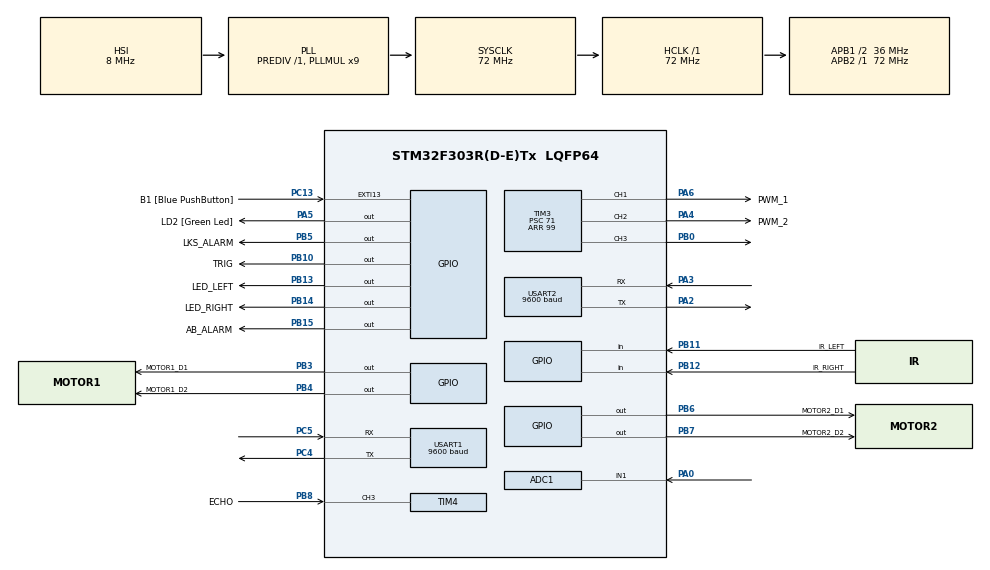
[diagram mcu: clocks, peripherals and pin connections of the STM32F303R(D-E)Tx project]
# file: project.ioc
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ADC1.Channel-0\#ChannelRegularConversion=ADC_CHANNEL_1
ADC1.NbrOfConversionFlag=1
ADC1.Offset-0\#ChannelRegularConversion=0
ADC1.OffsetNumber-0\#ChannelRegularConversion=ADC_OFFSET_NONE
ADC1.Rank-0\#ChannelRegularConversion=1
ADC1.SamplingTime-0\#ChannelRegularConversion=ADC_SAMPLETIME_1CYCLE_5
ADC1.SamplingTimeOPAMP-0\#ChannelRegularConversion=ADC_SAMPLETIME_61CYCLES_5
ADC1.master=1
FREERTOS.BinarySemaphores01=LKS_semaphore,Dynamic,NULL
FREERTOS.Tasks01=LKS_,32,128,LKS_TASK,Default,NULL,Dynamic,NULL,NULL;ACC_,24,128,ACC_TASK,Default,NULL,Dynamic,NULL,NULL;AB_,40,128,AB_TASK,Default,NULL,Dynamic,NULL,NULL;BLUETOOTH_,8,128,BLUETOOTH_TASK,Default,NULL,Dynamic,NULL,NULL;ALC_,9,128,ALC_TASK,Default,NULL,Dynamic,NULL,NULL
FREERTOS.configTOTAL_HEAP_SIZE=3500
Mcu.Family=STM32F3
Mcu.Name=STM32F303R(D-E)Tx
Mcu.Package=LQFP64
NVIC.PriorityGroup=NVIC_PRIORITYGROUP_4
NVIC.TIM1_UP_TIM16_IRQn=true\:15\:0\:false\:false\:true\:false\:false\:true\:true
NVIC.TIM4_IRQn=true\:5\:0\:false\:false\:true\:true\:true\:true\:true
NVIC.TimeBase=TIM1_UP_TIM16_IRQn
NVIC.TimeBaseIP=TIM1
PA0.Mode=IN1-Single-Ended
PA0.Signal=ADC1_IN1
PA13.GPIO_Label=TMS
PA13.Mode=Serial_Wire
PA13.Signal=SYS_JTMS-SWDIO
PA14.GPIO_Label=TCK
PA14.Mode=Serial_Wire
PA14.Signal=SYS_JTCK-SWCLK
PA2.Mode=Asynchronous
PA2.Signal=USART2_TX
PA3.Mode=Asynchronous
PA3.Signal=USART2_RX
PA4.GPIO_Label=PWM_2
PA4.Signal=S_TIM3_CH2
PA5.GPIO_Label=LD2 [Green Led]
PA5.GPIO_Mode=GPIO_MODE_OUTPUT_PP
PA5.GPIO_PuPd=GPIO_NOPULL
PA5.GPIO_Speed=GPIO_SPEED_FREQ_LOW
PA5.Signal=GPIO_Output
PA6.GPIO_Label=PWM_1
PA6.Signal=S_TIM3_CH1
PB0.Signal=S_TIM3_CH3
PB10.GPIO_Label=TRIG
PB10.Signal=GPIO_Output
PB11.GPIO_Label=IR_LEFT
PB11.GPIO_PuPd=GPIO_PULLDOWN
PB11.Signal=GPIO_Input
PB12.GPIO_Label=IR_RIGHT
PB12.GPIO_PuPd=GPIO_PULLDOWN
PB12.Signal=GPIO_Input
PB13.GPIO_Label=LED_LEFT
PB13.Signal=GPIO_Output
PB14.GPIO_Label=LED_RIGHT
PB14.Signal=GPIO_Output
PB15.GPIO_Label=AB_ALARM
PB15.Signal=GPIO_Output
PB3.GPIO_Label=MOTOR1_D1
PB3.Signal=GPIO_Output
PB4.GPIO_Label=MOTOR1_D2
PB4.Signal=GPIO_Output
PB5.GPIO_Label=LKS_ALARM
PB5.Signal=GPIO_Output
PB6.GPIO_Label=MOTOR2_D1
PB6.Signal=GPIO_Output
PB7.GPIO_Label=MOTOR2_D2
PB7.Signal=GPIO_Output
PB8.GPIO_Label=ECHO
PB8.Signal=S_TIM4_CH3
PC13.GPIO_Label=B1 [Blue PushButton]
PC13.GPIO_ModeDefaultEXTI=GPIO_MODE_IT_FALLING
PC13.Signal=GPXTI13
PC14-OSC32_IN.Signal=RCC_OSC32_IN
PC15-OSC32_OUT.Signal=RCC_OSC32_OUT
PC4.Mode=Asynchronous
PC4.Signal=USART1_TX
PC5.Mode=Asynchronous
PC5.Signal=USART1_RX
PF0-OSC_IN.Mode=HSE-External-Oscillator
PF0-OSC_IN.Signal=RCC_OSC_IN
PF1-OSC_OUT.Mode=HSE-External-Oscillator
PF1-OSC_OUT.Signal=RCC_OSC_OUT
ProjectManager.HeapSize=0x200
ProjectManager.StackSize=0x400
ProjectManager.TargetToolchain=STM32CubeIDE
RCC.AHBFreq_Value=72000000
RCC.APB1CLKDivider=RCC_HCLK_DIV2
RCC.APB1Freq_Value=36000000
RCC.APB1TimFreq_Value=72000000
RCC.APB2Freq_Value=72000000
RCC.APB2TimFreq_Value=72000000
RCC.CortexFreq_Value=72000000
RCC.HCLKFreq_Value=72000000
RCC.HSE_VALUE=8000000
RCC.HSI_VALUE=8000000
RCC.LSE_VALUE=32768
RCC.PLLM=8
RCC.PLLMUL=RCC_PLL_MUL9
RCC.PLLN=336
RCC.PLLP=RCC_PLLP_DIV4
RCC.PLLQ=7
RCC.RCC_PLLsource_Clock_Source_FROM_HSE=RCC_HSE_PREDIV_DIV2
RCC.SYSCLKFreq_VALUE=72000000
RCC.SYSCLKSourceVirtual=RCC_SYSCLKSOURCE_PLLCLK
RCC.USBFreq_Value=72000000
SH.S_TIM3_CH1.0=TIM3_CH1,PWM Generation1 CH1
SH.S_TIM3_CH2.0=TIM3_CH2,PWM Generation2 CH2
SH.S_TIM3_CH3.0=TIM3_CH3,PWM Generation3 CH3
SH.S_TIM4_CH3.0=TIM4_CH3,Input_Capture3_from_TI3
TIM3.Channel-PWM\ Generation1\ CH1=TIM_CHANNEL_1
TIM3.Channel-PWM\ Generation2\ CH2=TIM_CHANNEL_2
TIM3.Channel-PWM\ Generation3\ CH3=TIM_CHANNEL_3
TIM3.Period=99
TIM3.Prescaler=71
TIM4.Channel-Input_Capture3_from_TI3=TIM_CHANNEL_3
TIM4.Prescaler=71
USART1.BaudRate=9600
USART1.VirtualMode-Asynchronous=VM_ASYNC
USART2.BaudRate=9600
USART2.VirtualMode-Asynchronous=VM_ASYNC
VP_FREERTOS_VS_CMSIS_V2.Mode=CMSIS_V2
VP_SYS_VS_tim1.Mode=TIM1
VP_TIM3_VS_ClockSourceINT.Mode=Internal
VP_TIM4_VS_ClockSourceINT.Mode=Internal
board=NUCLEO-F303RE

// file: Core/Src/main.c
/* USER CODE BEGIN Header */
/**
 ******************************************************************************
 * @file           : main.c
 * @brief          : Main program body
 ******************************************************************************
 * @attention
 *
 * Copyright (c) 2024 STMicroelectronics.
 * All rights reserved.
 *
 * This software is licensed under terms that can be found in the LICENSE file
 * in the root directory of this software component.
 * If no LICENSE file comes with this software, it is provided AS-IS.
 *
 ******************************************************************************
 */
/* USER CODE END Header */
#include "main.h"
#include "cmsis_os.h"
#include "adc.h"
#include "tim.h"
#include "usart.h"
#include "gpio.h"

/* USER CODE BEGIN Includes */
#include "motor.h"
#include "Ultrasonic.h"
#include "LDR.h"
/* USER CODE END Includes */

void SystemClock_Config(void);
void MX_FREERTOS_Init(void);

int main(void)
{

  /* MCU Configuration--------------------------------------------------------*/

  /* Reset of all peripherals, Initializes the Flash interface and the Systick. */
  HAL_Init();

  /* Configure the system clock */
  SystemClock_Config();

  /* Initialize all configured peripherals */
  MX_GPIO_Init();
  MX_TIM3_Init();
  MX_TIM4_Init();
  MX_ADC1_Init();
  MX_USART1_UART_Init();
  MX_USART2_UART_Init();
  /* USER CODE BEGIN 2 */
	Motor_voidInit();
	HCSR04_Init();
	HAL_TIM_PWM_Start(&htim3,TIM_CHANNEL_3);
	  HAL_ADC_MspInit(&hadc1);
  /* USER CODE END 2 */

  /* Init scheduler */
  osKernelInitialize();

  /* Call init function for freertos objects (in freertos.c) */
  MX_FREERTOS_Init();

  /* Start scheduler */
  osKernelStart();

  /* We should never get here as control is now taken by the scheduler */
  /* Infinite loop */
  /* USER CODE BEGIN WHILE */
	while (1)
	{
//		HAL_GPIO_TogglePin(LD2_GPIO_Port, LD2_Pin);
//		HAL_GPIO_TogglePin(AB_ALARM_GPIO_Port, AB_ALARM_Pin);
//		HAL_GPIO_TogglePin(LD2_GPIO_Port, LD2_Pin);
//		HAL_GPIO_TogglePin(LED_RIGHT_GPIO_Port, LED_RIGHT_Pin);
//
//		HAL_Delay(1000);
    /* USER CODE END WHILE */

	}
}

void SystemClock_Config(void)
{
  RCC_OscInitTypeDef RCC_OscInitStruct = {0};
  RCC_ClkInitTypeDef RCC_ClkInitStruct = {0};
  RCC_PeriphCLKInitTypeDef PeriphClkInit = {0};

  /** Initializes the RCC Oscillators according to the specified parameters
  * in the RCC_OscInitTypeDef structure.
  */
  RCC_OscInitStruct.OscillatorType = RCC_OSCILLATORTYPE_HSI;
  RCC_OscInitStruct.HSIState = RCC_HSI_ON;
  RCC_OscInitStruct.HSICalibrationValue = RCC_HSICALIBRATION_DEFAULT;
  RCC_OscInitStruct.PLL.PLLState = RCC_PLL_ON;
  RCC_OscInitStruct.PLL.PLLSource = RCC_PLLSOURCE_HSI;
  RCC_OscInitStruct.PLL.PLLMUL = RCC_PLL_MUL9;
  RCC_OscInitStruct.PLL.PREDIV = RCC_PREDIV_DIV1;
  if (HAL_RCC_OscConfig(&RCC_OscInitStruct) != HAL_OK)
  {
    Error_Handler();
  }

  /** Initializes the CPU, AHB and APB buses clocks
  */
  RCC_ClkInitStruct.ClockType = RCC_CLOCKTYPE_HCLK|RCC_CLOCKTYPE_SYSCLK
                              |RCC_CLOCKTYPE_PCLK1|RCC_CLOCKTYPE_PCLK2;
  RCC_ClkInitStruct.SYSCLKSource = RCC_SYSCLKSOURCE_PLLCLK;
  RCC_ClkInitStruct.AHBCLKDivider = RCC_SYSCLK_DIV1;
  RCC_ClkInitStruct.APB1CLKDivider = RCC_HCLK_DIV2;
  RCC_ClkInitStruct.APB2CLKDivider = RCC_HCLK_DIV1;

  if (HAL_RCC_ClockConfig(&RCC_ClkInitStruct, FLASH_LATENCY_2) != HAL_OK)
  {
    Error_Handler();
  }
  PeriphClkInit.PeriphClockSelection = RCC_PERIPHCLK_USART1|RCC_PERIPHCLK_USART2
                              |RCC_PERIPHCLK_ADC12|RCC_PERIPHCLK_TIM34;
  PeriphClkInit.Usart1ClockSelection = RCC_USART1CLKSOURCE_PCLK2;
  PeriphClkInit.Usart2ClockSelection = RCC_USART2CLKSOURCE_PCLK1;
  PeriphClkInit.Adc12ClockSelection = RCC_ADC12PLLCLK_DIV1;
  PeriphClkInit.Tim34ClockSelection = RCC_TIM34CLK_HCLK;
  if (HAL_RCCEx_PeriphCLKConfig(&PeriphClkInit) != HAL_OK)
  {
    Error_Handler();
  }
}

void HAL_TIM_PeriodElapsedCallback(TIM_HandleTypeDef *htim)
{
  if (htim->Instance == TIM1) {
    HAL_IncTick();
  }
}

void Error_Handler(void)
{
	__disable_irq();
	while (1)
	{
	}
}

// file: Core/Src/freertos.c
/* USER CODE BEGIN Header */
/**
 ******************************************************************************
 * File Name          : freertos.c
 * Description        : Code for freertos applications
 ******************************************************************************
 * @attention
 *
 * Copyright (c) 2024 STMicroelectronics.
 * All rights reserved.
 *
 * This software is licensed under terms that can be found in the LICENSE file
 * in the root directory of this software component.
 * If no LICENSE file comes with this software, it is provided AS-IS.
 *
 ******************************************************************************
 */
/* USER CODE END Header */

#include "FreeRTOS.h"
#include "task.h"
#include "main.h"
#include "cmsis_os.h"

/* USER CODE BEGIN Includes */
#include "motor.h"
#include "IRSensor.h"
#include "bluetooth.h"
#include "LDR.h"
#include "usart.h"
#include "Ultrasonic.h"
/* USER CODE END Includes */

/* USER CODE BEGIN PTD */
typedef enum{
	T_OFF,
	T_ON
}TURN_SIGNAL_MODES;
typedef enum{

	LKS_OFF,
	LKS_ON,
	LKS_STANDARD,
	LKS_ADAPTIVE
}LKS_MODES;
/* USER CODE END PTD */

/* USER CODE BEGIN PD */
#define WHITE   1
#define BLACK   0
#define MIN_DISTANCE		5
#define DEFAULT_DISTANCE    20
#define MAX_SPEED  			80
/* USER CODE END PD */

/* USER CODE BEGIN Variables */
uint8_t  ACC_Flag 		  = 0;
uint8_t  LKS_Flag 		  = 0;
uint8_t  Left_IR 		  = 0;
uint8_t  Right_IR 		  = 0;
TURN_SIGNAL_MODES	 Turn_Flag		  = T_OFF;
LKS_MODES  LKS_mode  = LKS_STANDARD;
uint8_t	 speed 			  = 0;
uint8_t rxData			  = 0;
uint16_t Current_Distance = 0;
uint8_t AB_Flag	=0;
uint8_t Return_flag =0;
uint8_t debug			=0;
uint8_t tx_buffer[20] = "Welcome to USB";

uint8_t pData =0;
extern Ultrasonic_t HCSR04_sensor[1];
/* USER CODE END Variables */
/* Definitions for LKS_ */
osThreadId_t LKS_Handle;
const osThreadAttr_t LKS__attributes = {
		.name = "LKS_",
		.stack_size = 128 * 4,
		.priority = (osPriority_t) osPriorityAboveNormal,
};
/* Definitions for ACC_ */
osThreadId_t ACC_Handle;
const osThreadAttr_t ACC__attributes = {
		.name = "ACC_",
		.stack_size = 128 * 4,
		.priority = (osPriority_t) osPriorityNormal,
};
/* Definitions for AB_ */
osThreadId_t AB_Handle;
const osThreadAttr_t AB__attributes = {
		.name = "AB_",
		.stack_size = 128 * 4,
		.priority = (osPriority_t) osPriorityHigh,
};
/* Definitions for BLUETOOTH_ */
osThreadId_t BLUETOOTH_Handle;
const osThreadAttr_t BLUETOOTH__attributes = {
		.name = "BLUETOOTH_",
		.stack_size = 128 * 4,
		.priority = (osPriority_t) osPriorityLow,
};
/* Definitions for ALC_ */
osThreadId_t ALC_Handle;
const osThreadAttr_t ALC__attributes = {
		.name = "ALC_",
		.stack_size = 128 * 4,
		.priority = (osPriority_t) osPriorityLow1,
};
/* Definitions for LKS_semaphore */
osSemaphoreId_t LKS_semaphoreHandle;
const osSemaphoreAttr_t LKS_semaphore_attributes = {
		.name = "LKS_semaphore"
};

void LKS_TASK(void *argument);
void ACC_TASK(void *argument);
void AB_TASK(void *argument);
void BLUETOOTH_TASK(void *argument);
void ALC_TASK(void *argument);

void MX_FREERTOS_Init(void); /* (MISRA C 2004 rule 8.1) */

void MX_FREERTOS_Init(void) {

	/* Create the semaphores(s) */
	/* creation of LKS_semaphore */
	LKS_semaphoreHandle = osSemaphoreNew(1, 0, &LKS_semaphore_attributes);

	/* Create the thread(s) */
	/* creation of LKS_ */
	LKS_Handle = osThreadNew(LKS_TASK, NULL, &LKS__attributes);

	/* creation of ACC_ */
	ACC_Handle = osThreadNew(ACC_TASK, NULL, &ACC__attributes);

	/* creation of AB_ */
	AB_Handle = osThreadNew(AB_TASK, NULL, &AB__attributes);

	/* creation of BLUETOOTH_ */
	BLUETOOTH_Handle = osThreadNew(BLUETOOTH_TASK, NULL, &BLUETOOTH__attributes);

	/* creation of ALC_ */
	ALC_Handle = osThreadNew(ALC_TASK, NULL, &ALC__attributes);

}

void LKS_TASK(void *argument)
{
	/* USER CODE BEGIN LKS_TASK */
	/* Infinite loop */
	for(;;)

	{

		HAL_GPIO_TogglePin(LED_LEFT_GPIO_Port, LED_LEFT_Pin);
		/* if the driver do not turn on the turn signsl */
		if(Turn_Flag == T_OFF && speed > 20 &&  LKS_mode ==  LKS_ADAPTIVE  && (!AB_Flag))
		{
			HAL_GPIO_WritePin(LKS_ALARM_GPIO_Port, LKS_ALARM_Pin, GPIO_PIN_RESET);
			Left_IR = IRSensor_Read(LEFT_IR);
			Right_IR = IRSensor_Read(RIGHT_IR);
			/* If the car is inside the lane / No lane markings are detected on both sides */
			if ((Left_IR == BLACK) && (Right_IR == BLACK) )
			{

				if(Return_flag==1)
				{
					Motor_voidMoveForward(speed);
				}else
				{
					Motor_voidMoveBackward(speed);
				}
				/* Reset (Lane Keeping Status) Flag */
				LKS_Flag = 0;

			}
			/* If the car drifts to the right / Lane markings are detected on the right side */
			else if (Left_IR == BLACK && Right_IR == WHITE)
			{
				/* Set (Lane Keeping Status) Flag */
				LKS_Flag = 1;
				// Steer the car to the left
				Motor_voidMoveLeft(speed);

			}
			/* If the car drifts to the left / Lane markings are detected on the left side */
			else if (Left_IR == WHITE && Right_IR == BLACK)
			{
				/* Set (Lane Keeping Status) Flag */
				LKS_Flag = 1;

				// Steer the car to the right
				Motor_voidMoveRight(speed);
			}
			else
			{/* Nothing */}
		}else if(Turn_Flag == T_OFF && speed > 20 &&  LKS_mode == LKS_STANDARD && (!AB_Flag))
		{

			Left_IR = IRSensor_Read(LEFT_IR);
			Right_IR = IRSensor_Read(RIGHT_IR);
			/* If the car is inside the lane / No lane markings are detected on both sides */
			if ((Left_IR == BLACK) && (Right_IR == BLACK) )
			{
				HAL_GPIO_WritePin(LKS_ALARM_GPIO_Port, LKS_ALARM_Pin, GPIO_PIN_RESET);

				LKS_Flag = 0;

			}
			/* If the car drifts to the right / Lane markings are detected on the right side */
			else if (Left_IR == BLACK && Right_IR == WHITE)
			{
				/* Set (Lane Keeping Status) Flag */
				LKS_Flag = 1;

				// Indication led
				HAL_GPIO_WritePin(LKS_ALARM_GPIO_Port, LKS_ALARM_Pin, GPIO_PIN_SET);
			}
			/* If the car drifts to the left / Lane markings are detected on the left side */
			else if (Left_IR == WHITE && Right_IR == BLACK)
			{
				/* Set (Lane Keeping Status) Flag */
				LKS_Flag = 1;

				// Indication led
				HAL_GPIO_WritePin(LKS_ALARM_GPIO_Port, LKS_ALARM_Pin, GPIO_PIN_SET);
			}
			else
			{/* Nothing */}
		}

		osDelay(100);
	}
	/* USER CODE END LKS_TASK */
}

void ACC_TASK(void *argument)
{
	/* USER CODE BEGIN ACC_TASK */

	uint8_t distance =0;
	/* Infinite loop */
	for(;;)
	{

		distance = Get_Distance();
		if((!LKS_Flag) && (ACC_Flag) && speed > 20 && (!AB_Flag))
		{
			if(rxData==speed_0 || rxData==speed_1 ||rxData==speed_2 ||rxData==speed_3 ||rxData==speed_4 ||rxData==speed_5 ||rxData==speed_6 ||rxData==speed_7 ||rxData==speed_8 ||rxData==speed_9 ||rxData==speed_10 )
			{
				ACC_Flag=0;
			}
			else
			{
				if ((distance < DEFAULT_DISTANCE) && (distance > MIN_DISTANCE))
				{
					/* Calculate Adaptive Speed */
					HAL_GPIO_WritePin(LD2_GPIO_Port, LD2_Pin,GPIO_PIN_SET);
					speed = MAX_SPEED - 2*(DEFAULT_DISTANCE - distance) ;
					Motor_voidMoveForward(speed);
				}
				else if (distance <= MIN_DISTANCE)
				{
					/* very low distance < 20 --> car stop */
					Motor_voidStop();
					speed = 0;
				}
				else if (distance >= DEFAULT_DISTANCE)
				{
					HAL_GPIO_WritePin(LD2_GPIO_Port, LD2_Pin,GPIO_PIN_RESET);
					speed = MAX_SPEED;
					Motor_voidMoveForward(speed);
				}
				else{/* nothing */}
			}

		}
		else{/* Nothing */}
		osDelay(100);
	}
	/* USER CODE END ACC_TASK */
}

void AB_TASK(void *argument)
{
	/* USER CODE BEGIN AB_TASK */

	uint8_t distance =0;
	/* Infinite loop */

	for(;;)
	{
		distance = Get_Distance();
		HAL_GPIO_TogglePin(LED_RIGHT_GPIO_Port, LED_RIGHT_Pin);
		if (distance > 10 )
		{
			AB_Flag =0;
			HAL_GPIO_WritePin(AB_ALARM_GPIO_Port,AB_ALARM_Pin,GPIO_PIN_RESET);
		}
		else
		{
			AB_Flag =1;
			HAL_GPIO_WritePin(AB_ALARM_GPIO_Port,AB_ALARM_Pin,GPIO_PIN_SET);
			Motor_voidStop();
		}

	}
	/* USER CODE END AB_TASK */
}

void BLUETOOTH_TASK(void *argument)
{
	/* USER CODE BEGIN BLUETOOTH_TASK */
	/* Infinite loop */
	for(;;)
	{

		HAL_UART_Receive(&huart1,&rxData,1,50);
		if(!AB_Flag)
		{

			/* USER CODE END WHILE */
			switch (rxData) {

			case MOVE_FORWARD:
				Motor_voidMoveForward(speed); // motor forward  (e.g., motor control)
				Return_flag=1;
				break;
			case MOVE_LEFT:
				Motor_voidMoveLeft(speed); // motor move left (e.g., motor control)
				break;
			case MOVE_BACKWARD:
				Motor_voidMoveBackward(speed); // motor backward
				Return_flag=0;
				break;
			case MOVE_RIGHT:
				Motor_voidMoveRight(speed); // motor move right
				break;
			case LANE_KEEP_ASSIST_STANDARD:
				LKS_mode = LKS_STANDARD;

				break;
			case LANE_KEEP_ASSIST_ADAPTIVE:
				LKS_mode = LKS_ADAPTIVE;

				break;
			case CRUISE_CONTROL_ON:
				ACC_Flag = 1;

				break;
			case CRUISE_CONTROL_OFF:
				ACC_Flag =0;

				break;
			case SIGNAL_ON:
				Turn_Flag = T_ON;
				break;
			case SIGNAL_OFF:
				Turn_Flag = T_OFF;
				break;

			case speed_0:  //
				speed = 0;
				Motor_voidControlSpeed(0);
				break;
			case speed_1:
				speed = 10;
				Motor_voidControlSpeed(10);
				break;
			case speed_2:  // Assuming 120 is the code for standard mode
				speed = 20;
				Motor_voidControlSpeed(20);
				break;
			case speed_3:
				speed = 30;
				Motor_voidControlSpeed(30);
				break;
			case speed_4:
				speed = 40;
				Motor_voidControlSpeed(40);
				break;
			case speed_5:
				speed = 50;
				Motor_voidControlSpeed(50);
				break;
			case speed_6:
				speed = 60;
				Motor_voidControlSpeed(60);
				break;
			case speed_7:
				speed = 70;
				Motor_voidControlSpeed(70);
				break;
			case speed_8:
				speed = 80;
				Motor_voidControlSpeed(80);
				break;
			case speed_9:
				speed = 90;
				Motor_voidControlSpeed(90);
				break;
			case speed_10:
				speed = 100;
				Motor_voidControlSpeed(100);
				break;
			default:
				// Handle unexpected data (optional)
				// You might want to print an error message or take some action here.
				break;

			}

		}
		osDelay(1);
	}
	/* USER CODE END BLUETOOTH_TASK */
}

void ALC_TASK(void *argument)
{
	/* USER CODE BEGIN ALC_TASK */
	uint8_t LDR_Value = 0;
	/* Infinite loop */
	for(;;)
	{
		LDR_Value = LDR_u8GetValue();
		if(LDR_Value >= 93)
		{
			/* front Lead with Max lighting */
			TIM3->CCR3 = 98 ;
		}
		else if(LDR_Value < 93 || LDR_Value >= 80)
		{
			/* front Led with adaptive lighting*/
			TIM3->CCR3 =  LDR_Value;
		}
		else if(LDR_Value < 80 || LDR_Value > 10)
		{
			/* front Led with Low lighting */
			TIM3->CCR3 =  (LDR_Value ) / 2 ;
		}
		else
		{
			/* front Led Off*/
			TIM3->CCR3 =  0 ;
		}
		osDelay(500);
	}
	/* USER CODE END ALC_TASK */
}
